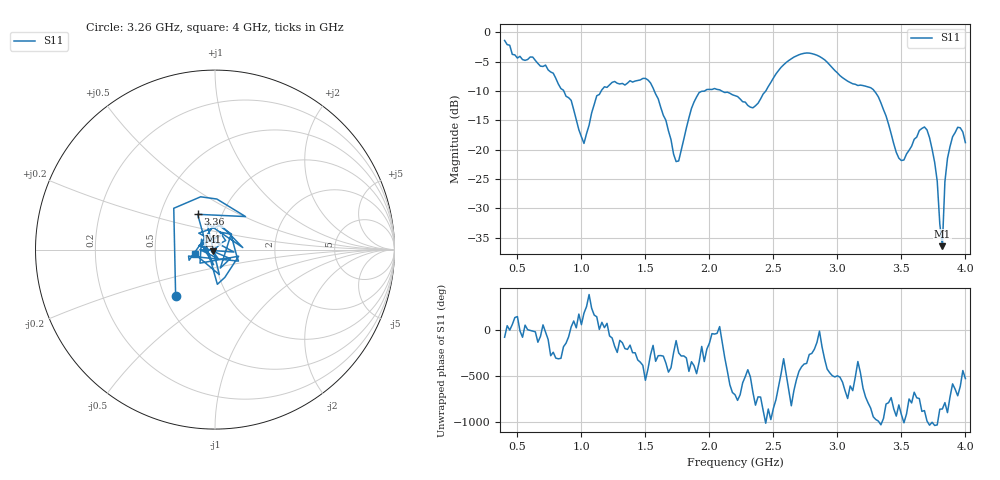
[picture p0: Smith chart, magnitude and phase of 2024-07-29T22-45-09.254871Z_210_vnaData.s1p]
!Created with skrf (http://scikit-rf.org).
# Hz S RI R 50.0
!freq ReS11 ImS11
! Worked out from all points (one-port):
!   181 points, 400 MHz to 4 GHz, reference 50 ohm
!   lowest |S11| = -36.5 dB at 3.82 GHz (marker M1), VSWR 1.03, Z = 48.9 - j0.943 ohm
!   |S11| at or under -10 dB: 1.57 GHz to 1.962 GHz (392.2 MHz wide, 22.2 % of centre); 2.096 GHz to 2.441 GHz (344.4 MHz wide, 15.2 % of centre); 3.289 GHz to end of sweep (the widest 3 of 4)
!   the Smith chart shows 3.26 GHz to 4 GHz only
!   S11 on the Smith chart (normalised r, x): 3.26 GHz: 0.57, -0.33; 3.36 GHz: 0.77, +0.32; 4 GHz: 0.80, -0.04
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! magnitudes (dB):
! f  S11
! 400 MHz  -1.4
! 500 MHz  -4.4
! 720 MHz  -5.6
! 860 MHz  -9.9
! 920 MHz  -11.6
! 1.02 GHz  -18.9
! 1.12 GHz  -10.8
! 1.3 GHz  -8.8
! 1.54 GHz  -8.6
! 1.76 GHz  -21.9
! 1.92 GHz  -10.3
! 2.2 GHz  -10.8
! 2.34 GHz  -12.9
! 2.66 GHz  -4.2
! 2.84 GHz  -3.9
! 3.1 GHz  -8.5
! 3.26 GHz  -9.4
! 3.36 GHz  -13.2
! 3.48 GHz  -21.4
! 3.56 GHz  -20.1
! 3.7 GHz  -16.6
! 3.78 GHz  -25.4
! 3.8 GHz  -32.6
! 3.82 GHz  -36.5
! 3.84 GHz  -25.4
! 3.88 GHz  -19.5
! 3.94 GHz  -16.2
! 4 GHz  -18.8
